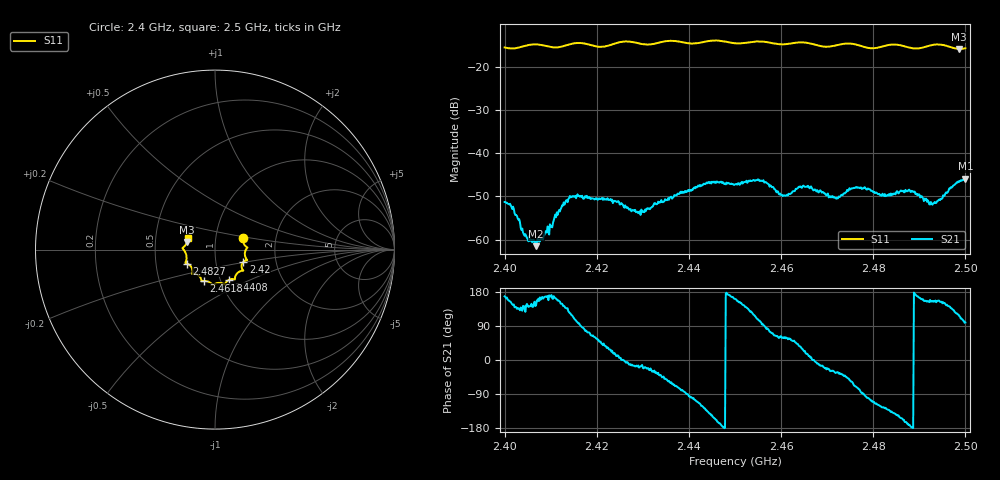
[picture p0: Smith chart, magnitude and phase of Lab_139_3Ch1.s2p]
# Hz S RI R 50
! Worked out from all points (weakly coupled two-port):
!   601 points, 2.4 GHz to 2.5 GHz, reference 50 ohm
!   highest |S21| = -45.89 dB at 2.5 GHz (marker M1); lowest = -61.5 dB at 2.4068 GHz (marker M2)
!   lowest |S11| = -15.9 dB at 2.4987 GHz (marker M3), VSWR 1.38, Z = 36.5 + j3.22 ohm
!   |S11| at or under -10 dB: start of sweep to end of sweep
!   S12 and S22 are empty: the file has one direction only
!   S11 on the Smith chart (normalised r, x): 2.4 GHz: 1.36, +0.17; 2.42 GHz: 1.36, -0.19; 2.4408 GHz: 1.10, -0.38; 2.4618 GHz: 0.84, -0.30; 2.4827 GHz: 0.72, -0.12; 2.5 GHz: 0.73, +0.09
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2.4e9  0.1554 0.062  -0.00266 0.000568  0 0  0 0
2.4015e9  0.1575 0.0424  -0.00205 0.0012  0 0  0 0
2.404667e9  0.1754 0.0152  -0.000886 0.000659  0 0  0 0
2.406833e9  0.1813 0.0117  -0.000687 0.000482  0 0  0 0
2.413667e9  0.1726 -0.0481  -0.00197 0.00186  0 0  0 0
2.416667e9  0.1787 -0.059  0.000101 0.00313  0 0  0 0
2.42e9  0.1571 -0.0692  0.00164 0.00249  0 0  0 0
2.429e9  0.1444 -0.1191  0.00196 -0.00051  0 0  0 0
2.433333e9  0.1119 -0.1526  0.00228 -0.00153  0 0  0 0
2.440833e9  0.078 -0.1687  -0.000779 -0.00369  0 0  0 0
2.45e9  0.0274 -0.1852  -0.00412 0.0014  0 0  0 0
2.455333e9  -0.0116 -0.1963  -0.00114 0.00463  0 0  0 0
2.461833e9  -0.0611 -0.175  0.00189 0.00279  0 0  0 0
2.466667e9  -0.0762 -0.168  0.00394 0.000168  0 0  0 0
2.471833e9  -0.1134 -0.1352  0.0025 -0.00171  0 0  0 0
2.476333e9  -0.1256 -0.1296  0.00131 -0.00384  0 0  0 0
2.482667e9  -0.1578 -0.0776  -0.00187 -0.00257  0 0  0 0
2.483333e9  -0.1617 -0.0763  -0.00221 -0.0025  0 0  0 0
2.488167e9  -0.1584 -0.047  -0.00354 -0.000222  0 0  0 0
2.493167e9  -0.18 0.00492  -0.0024 0.0011  0 0  0 0
2.498667e9  -0.1549 0.043  -0.00205 0.00418  0 0  0 0
2.5e9  -0.1514 0.0627  -0.000785 0.00501  0 0  0 0
